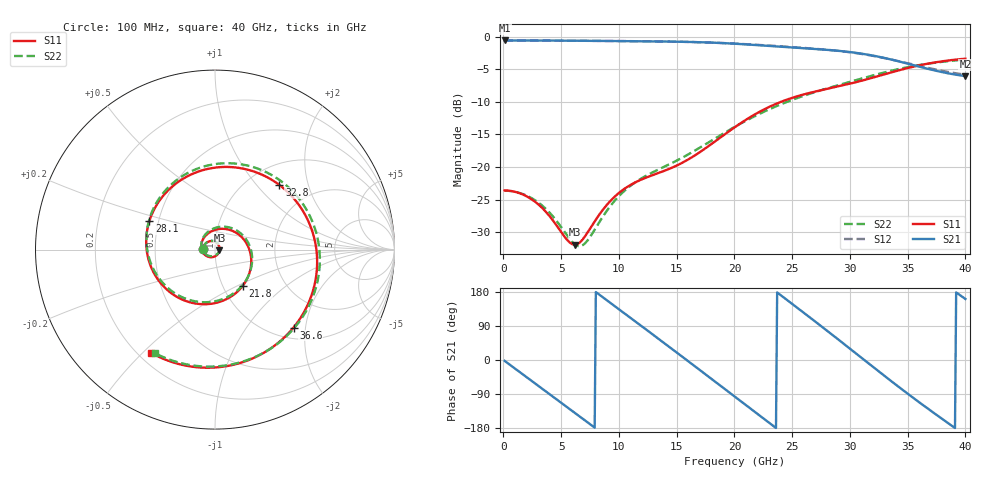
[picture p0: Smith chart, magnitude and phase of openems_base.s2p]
! A_s4_d200_ap600: L1→L4 through L2/L3, drill Ø0.2, antipad Ø0.6, 4 GND vias at 1 mm
! stackup: 4-layer 1.6 mm FR-4
! ports: 1, 2
! openEMS 0.37.0, staircase, base mesh (dfine 0.035 mm), 457125 cells
# Hz S RI R 50
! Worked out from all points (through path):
!   400 points, 100 MHz to 40 GHz, reference 50 ohm
!   highest |S21| = -0.60 dB at 100 MHz (marker M1); lowest = -6.1 dB at 40 GHz (marker M2)
!   group delay of S21, straight-line fit = 64.3 ps
!   lowest |S11| = -31.9 dB at 6.2 GHz (marker M3), VSWR 1.05, Z = 52.6 - j0.502 ohm
!   |S11| at or under -10 dB: start of sweep to 24.03 GHz
!   |S22| runs from -32.1 to -3.5 dB; largest |S21 - S12| = 0.013
!   S11 on the Smith chart (normalised r, x): 100 MHz: 0.88, +0.00; 21.8 GHz: 1.24, -0.53; 28.1 GHz: 0.44, +0.17; 32.8 GHz: 1.37, +1.33; 36.6 GHz: 1.23, -1.72; 40 GHz: 0.25, -0.53
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1e8  -0.0662 0.0024  0.9328 -0.0368  0.9328 -0.0368  -0.066 0.00246
1.6e9  -0.0516 0.0346  0.7537 -0.5501  0.7536 -0.5501  -0.0514 0.0356
3.3e9  -0.0136 0.0473  0.249 -0.8982  0.2489 -0.8982  -0.0134 0.0494
6.2e9  0.025 -0.00478  -0.7118 -0.5969  -0.7119 -0.5971  0.0255 -0.000468
6.8e9  0.0197 -0.0193  -0.8312 -0.413  -0.8314 -0.4131  0.0204 -0.0146
8.6e9  -0.0202 -0.0424  -0.8969 0.2287  -0.8974 0.2289  -0.0191 -0.037
1.06e10  -0.0676 -0.0157  -0.4661 0.7962  -0.466 0.797  -0.0666 -0.00969
1.34e10  -0.0628 0.0644  0.5062 0.7654  0.5068 0.7654  -0.0628 0.0722
1.5e10  -0.0229 0.1002  0.8593 0.3098  0.8595 0.3095  -0.0235 0.1096
1.65e10  0.0371 0.1159  0.8776 -0.2311  0.8778 -0.2309  0.0362 0.1276
1.84e10  0.138 0.0792  0.4645 -0.7662  0.466 -0.766  0.138 0.0949
2.01e10  0.2004 -0.0383  -0.1267 -0.8717  -0.1248 -0.8742  0.2043 -0.0194
2.18e10  0.155 -0.2014  -0.6377 -0.5797  -0.6399 -0.5841  0.1647 -0.1834
2.41e10  -0.1002 -0.3017  -0.8193 0.1593  -0.8254 0.162  -0.0888 -0.2914
2.67e10  -0.3683 -0.0624  -0.2553 0.7649  -0.2511 0.7703  -0.3645 -0.0559
2.81e10  -0.3658 0.1582  0.1989 0.7646  0.2047 0.7639  -0.3668 0.1656
3.05e10  -0.0777 0.4397  0.7142 0.2316  0.7117 0.2289  -0.0892 0.4543
3.28e10  0.3585 0.3602  0.55 -0.4191  0.5514 -0.4141  0.3445 0.3978
3.34e10  0.4521 0.2691  0.4183 -0.5269  0.4227 -0.5227  0.4425 0.314
3.66e10  0.4376 -0.4341  -0.327 -0.467  -0.3277 -0.4782  0.4769 -0.3913
3.84e10  0.0474 -0.652  -0.5057 -0.1412  -0.5178 -0.1449  0.0903 -0.6402
4e10  -0.3568 -0.5747  -0.4706 0.1619  -0.4799 0.1709  -0.332 -0.5782
